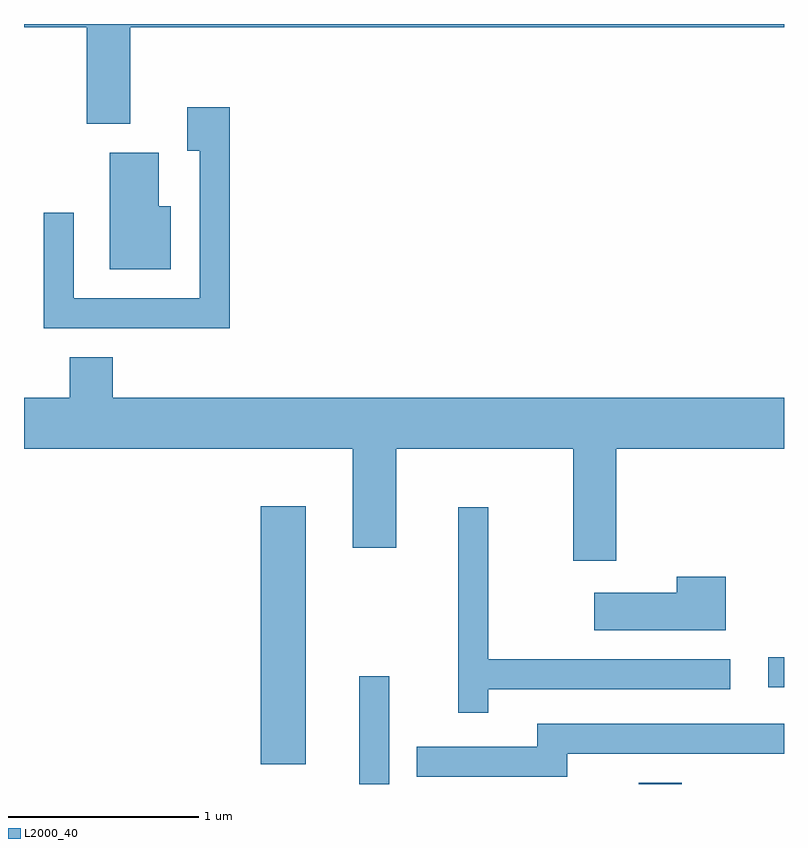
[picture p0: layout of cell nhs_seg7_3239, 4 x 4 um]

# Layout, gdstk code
import gdstk
lib = gdstk.Library(unit=1e-6, precision=1e-09)
def R(c, l, rs):  # rectangles x0, y0, x1, y1
    for r in rs: c.add(gdstk.rectangle(r[:2], r[2:], *l))
def P(c, l, *ps):  # polygons
    for p in ps: c.add(gdstk.Polygon(p, *l))
L2000_40 = (2000, 40)

nhs_seg7_3239 = lib.new_cell('nhs_seg7_3239')
R(nhs_seg7_3239, L2000_40, [(285.376,1790.252,285.534,1790.818), (286.846,1790.252,287.074,1790.259), (284.856,1790.356,285.094,1791.714), (287.528,1790.761,287.611,1790.919)])
P(nhs_seg7_3239, L2000_40, [(284.169,1794.236),(287.611,1794.236),(287.611,1794.252),(283.611,1794.252),(283.611,1794.236),(283.941,1794.236),(283.941,1793.726),(284.169,1793.726)],
  [(284.694,1793.814),(284.471,1793.814),(284.471,1793.586),(284.536,1793.586),(284.536,1792.809),(283.874,1792.809),(283.874,1793.258),(283.716,1793.258),(283.716,1792.651),(284.694,1792.651)],
  [(284.384,1793.294),(284.319,1793.294),(284.319,1793.574),(284.061,1793.574),(284.061,1792.961),(284.384,1792.961)],
  [(286.729,1792.016),(287.611,1792.016),(287.611,1792.284),(284.079,1792.284),(284.079,1792.499),(283.851,1792.499),(283.851,1792.284),(283.611,1792.284),(283.611,1792.016),(285.341,1792.016),(285.341,1791.496),(285.569,1791.496),(285.569,1792.016),(286.501,1792.016),(286.501,1791.426),(286.729,1791.426)],
  [(286.054,1790.751),(287.328,1790.751),(287.328,1790.909),(286.054,1790.909),(286.054,1791.708),(285.896,1791.708),(285.896,1790.628),(286.054,1790.628)],
  [(287.304,1791.344),(287.046,1791.344),(287.046,1791.259),(286.611,1791.259),(286.611,1791.061),(287.304,1791.061)],
  [(286.469,1790.411),(287.611,1790.411),(287.611,1790.569),(286.311,1790.569),(286.311,1790.449),(285.678,1790.449),(285.678,1790.291),(286.469,1790.291)])

lib.write_gds('nhs_seg7_3239.gds')
